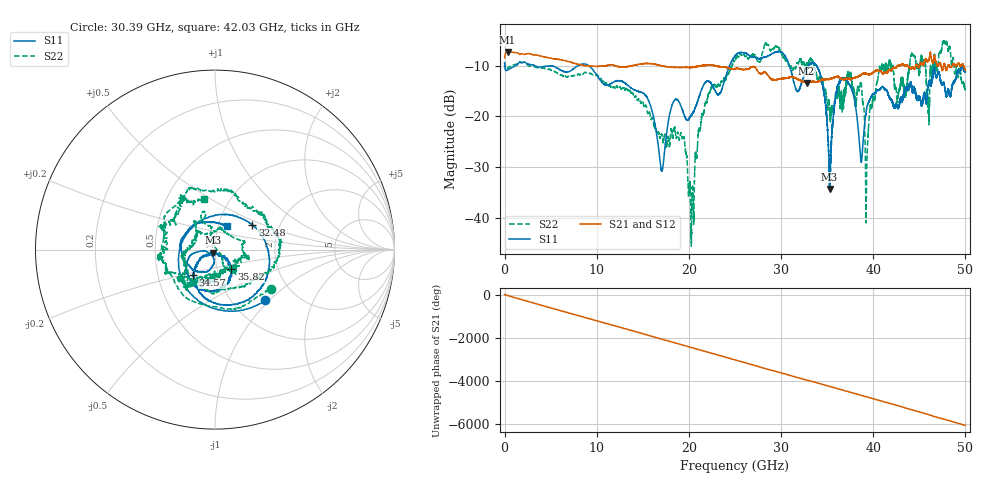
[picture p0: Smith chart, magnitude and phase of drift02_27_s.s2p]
!Created with skrf (http://scikit-rf.org).
# Hz S RI R 50.0
!freq ReS11 ImS11 ReS21 ImS21 ReS12 ImS12 ReS22 ImS22
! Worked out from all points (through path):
!   10001 points, 300 kHz to 50 GHz, reference 50 ohm
!   highest |S21| = -7.31 dB at 325.3 MHz (marker M1); lowest = -13.4 dB at 32.77 GHz (marker M2)
!   group delay of S21, straight-line fit = 335 ps
!   lowest |S11| = -34.2 dB at 35.26 GHz (marker M3), VSWR 1.04, Z = 49.1 - j1.72 ohm
!   |S11| at or under -10 dB: 3.233 GHz to 8.005 GHz (4.772 GHz wide, 84.9 % of centre); 9.105 GHz to 24.41 GHz (15.31 GHz wide, 91.3 % of centre); 33.83 GHz to end of sweep (the widest 3 of 9)
!   |S22| runs from -45.5 to -5.1 dB; largest |S21 - S12| = 0.015
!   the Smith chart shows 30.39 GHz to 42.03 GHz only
!   S11 on the Smith chart (normalised r, x): 30.39 GHz: 1.40, -0.94; 32.48 GHz: 1.45, +0.42; 34.57 GHz: 0.75, -0.22; 35.82 GHz: 1.17, -0.26; 42.03 GHz: 1.10, +0.29
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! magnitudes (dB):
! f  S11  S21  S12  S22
! 300 kHz  -9.5  -8.5  -8.4  -9.3
! 325.3 MHz  -10.9  -7.3  -7.3  -10.6
! 8.335 GHz  -9.7  -9.9  -9.9  -11.6
! 16.67 GHz  -25.7  -9.9  -9.9  -23.1
! 19.31 GHz  -18.8  -10.4  -10.4  -24.4
! 20.34 GHz  -19.6  -10.3  -10.4  -36.3
! 21.94 GHz  -13.1  -9.9  -10.0  -17.1
! 25 GHz  -8.1  -10.6  -10.6  -8.9
! 30.39 GHz  -8.0  -12.5  -12.5  -8.4
! 32.48 GHz  -12.1  -13.2  -13.2  -9.4
! 32.77 GHz  -10.8  -13.4  -13.5  -10.0
! 33.34 GHz  -9.5  -13.2  -13.2  -9.0
! 34.57 GHz  -14.5  -12.8  -12.8  -13.2
! 35.26 GHz  -34.2  -12.6  -12.6  -18.3
! 35.82 GHz  -17.0  -12.3  -12.4  -16.9
! 37.31 GHz  -13.5  -12.6  -12.5  -12.0
! 38.54 GHz  -26.0  -12.1  -12.0  -14.3
! 39.31 GHz  -18.2  -11.6  -11.6  -28.9
! 41.67 GHz  -15.9  -10.9  -11.1  -9.7
! 42.03 GHz  -16.7  -10.8  -10.7  -10.9
! 47.77 GHz  -14.4  -9.8  -9.8  -5.3
! 50 GHz  -11.2  -10.8  -10.8  -14.6
